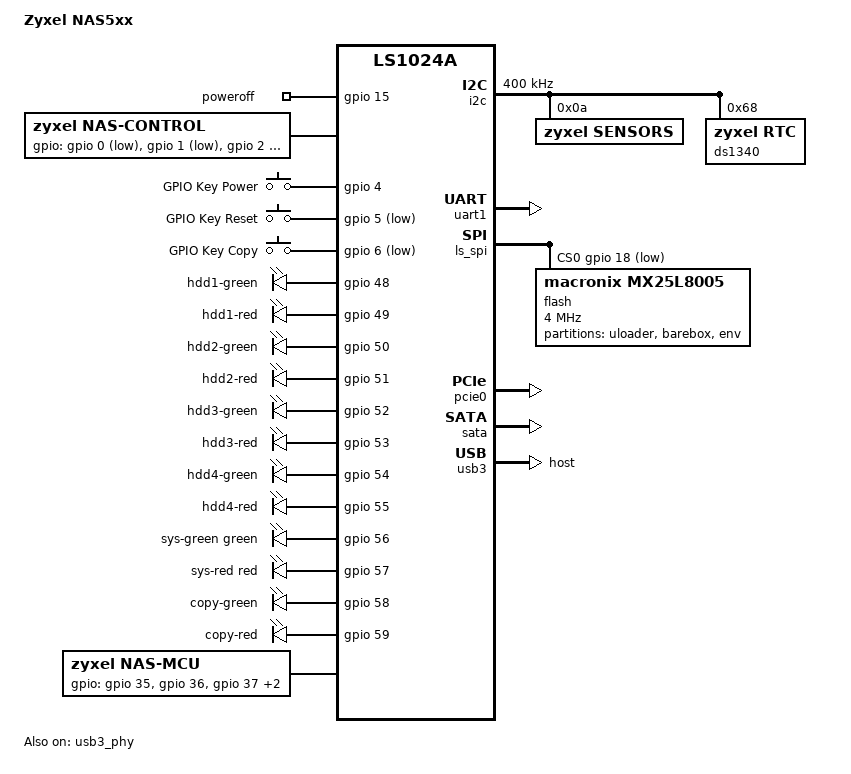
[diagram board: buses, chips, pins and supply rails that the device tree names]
// SPDX-License-Identifier: GPL-2.0
/dts-v1/;
#include "ls1024a.dtsi"
#include <dt-bindings/gpio/gpio.h>
#include <dt-bindings/input/linux-event-codes.h>
#include <dt-bindings/leds/common.h>

/ {
	model = "Zyxel NAS5xx";
	compatible = "zyxel,nas5xx", "fsl,ls1024a";

	chosen {
		bootargs = "console=ttyS0,115200n8 earlyprintk";
		stdout-path = &uart1;
	};

	reserved-memory {
		#address-cells = <1>;
		#size-cells = <1>;

		pfe@3400000 {
			reg = <0x03400000 0xc00000>;
			no-map;
		};
	};

	a9dp_opp_table: a9dp_opp_table {
		compatible = "operating-points-v2";
		opp-shared;

		opp-1200000000 {
			opp-hz = /bits/ 64 <1200000000>;
		};
		opp-600000000 {
			opp-hz = /bits/ 64 <600000000>;
		};
		opp-300000000 {
			opp-hz = /bits/ 64 <300000000>;
		};
	};

	soc {
		poweroff {
			compatible = "gpio-poweroff";
			gpios = <&gpio 15 GPIO_ACTIVE_HIGH>;
			timeout-ms = <6000>;
		};

		pfe_ctrl: pfe_ctrl@90500000 {
			compatible = "fsl,ls1024a-pfe-ctrl";
			reg = <0x90500000 0x10000>,
			      <0x9c000000 0x1000000>,
			      <0x03400000 0xc00000>,
			      <0x9a000000 0x100000>;
			reg-names = "apb", "axi", "ddr", "ipsec";
			fsl,ls1024a-pfe-iram = <&pfe_iram>;
			interrupts = <GIC_SPI 4 IRQ_TYPE_LEVEL_HIGH>;
			interrupt-names = "hif";
			clocks = <&clkcore LS1024A_CLK_PFE_SYS>,
				 <&clkcore LS1024A_CLK_GEM_TX>,
				 <&clkcore LS1024A_CLK_PFE>;
			clock-names = "axi", "gemtx", "hfe_core";
			resets = <&clkreset LS1024A_AXI_PFE_SYS_RST>,
			         <&clkreset LS1024A_AXI_IPSEC_EAPE_RST>;
			reset-names = "axi", "ipsec";
		};
	};

	control: control {
		compatible = "zyxel,nas-control";
		gpios = <&gpio 0 GPIO_ACTIVE_LOW>,
			<&gpio 1 GPIO_ACTIVE_LOW>,
			<&gpio 2 GPIO_ACTIVE_LOW>,
			<&gpio 3 GPIO_ACTIVE_LOW>,
			<&gpio 7 GPIO_ACTIVE_HIGH>,
			<&gpio 8 GPIO_ACTIVE_HIGH>,
			<&gpio 9 GPIO_ACTIVE_HIGH>,
			<&gpio 10 GPIO_ACTIVE_HIGH>,
			<&gpio 11 GPIO_ACTIVE_HIGH>,
			<&gpio 14 GPIO_ACTIVE_HIGH>;
		gpio-names = "hdd1-detect", "hdd2-detect", "hdd3-detect", "hdd4-detect", "htp-detect",
			     "hdd1-control", "hdd2-control", "hdd3-control", "hdd4-control", "usb-control";
	};

	ledtriggers {
		compatible = "zyxel,nas-leds";
	};

	pwmset {
		compatible = "zyxel,nas-pwms";
		//pwms = <&pwm 4 5000 0>, <&pwm 5 65536 0>;
	};

	keys {
		compatible = "zyxel,nas-keys";
		#address-cells = <1>;
		#size-cells = <0>;
		autorepeat;

		button@0 {
			gpios = <&gpio 4 GPIO_ACTIVE_HIGH>;
			linux,code = <KEY_POWER>;
			label = "GPIO Key Power";
			linux,input-type = <1>;
			gpio-key,wakeup = <1>;
			debounce-interval = <100>;
		};
		button@1 {
			gpios = <&gpio 5 GPIO_ACTIVE_LOW>;
			linux,code = <KEY_RESTART>;
			label = "GPIO Key Reset";
			linux,input-type = <1>;
			gpio-key,wakeup = <1>;
			debounce-interval = <100>;
		};
		button@2 {
			gpios = <&gpio 6 GPIO_ACTIVE_LOW>;
			linux,code = <KEY_PROG1>;
			label = "GPIO Key Copy";
			linux,input-type = <1>;
			gpio-key,wakeup = <1>;
			debounce-interval = <100>;
		};
	};

	leds {
		compatible = "gpio-leds";
		hdd1-green {
			gpios = <&gpio 48 GPIO_ACTIVE_HIGH>;
			linux,default-trigger = "hdd1-act";
		};
		hdd1-red {
			gpios = <&gpio 49 GPIO_ACTIVE_HIGH>;
			linux,default-trigger = "hdd1-err";
		};
		hdd2-green {
			gpios = <&gpio 50 GPIO_ACTIVE_HIGH>;
			linux,default-trigger = "hdd2-act";
		};
		hdd2-red {
			gpios = <&gpio 51 GPIO_ACTIVE_HIGH>;
			linux,default-trigger = "hdd2-err";
		};
		hdd3-green {
			gpios = <&gpio 52 GPIO_ACTIVE_HIGH>;
			linux,default-trigger = "hdd3-act";
		};
		hdd3-red {
			gpios = <&gpio 53 GPIO_ACTIVE_HIGH>;
			linux,default-trigger = "hdd3-err";
		};
		hdd4-green {
			gpios = <&gpio 54 GPIO_ACTIVE_HIGH>;
			linux,default-trigger = "hdd4-act";
		};
		hdd4-red {
			gpios = <&gpio 55 GPIO_ACTIVE_HIGH>;
			linux,default-trigger = "hdd4-err";
		};
		sys-green {
			function = LED_FUNCTION_STATUS;
			color = <LED_COLOR_ID_GREEN>;
			gpios = <&gpio 56 GPIO_ACTIVE_HIGH>;
			linux,default-trigger = "sys-act";
		};
		sys-red {
			function = LED_FUNCTION_STATUS;
			color = <LED_COLOR_ID_RED>;
			gpios = <&gpio 57 GPIO_ACTIVE_HIGH>;
			linux,default-trigger = "sys-err";
		};
		copy-green {
			gpios = <&gpio 58 GPIO_ACTIVE_HIGH>;
			linux,default-trigger = "copy-act";
		};
		copy-red {
			gpios = <&gpio 59 GPIO_ACTIVE_HIGH>;
			linux,default-trigger = "copy-err";
		};
	};

	nas-mcu {
		compatible = "zyxel,nas-mcu";
		gpios = <&gpio 35 GPIO_ACTIVE_HIGH>,
			<&gpio 36 GPIO_ACTIVE_HIGH>,
			<&gpio 37 GPIO_ACTIVE_HIGH>,
			<&gpio 38 GPIO_ACTIVE_HIGH>,
			<&gpio 39 GPIO_ACTIVE_HIGH>;
		gpio-names = "sdata", "sclk", "resb", "bi", "wdt";
	};
};

&cpu0 {
	operating-points-v2 = <&a9dp_opp_table>;
};
&cpu1 {
	operating-points-v2 = <&a9dp_opp_table>;
};

&i2c {
	clock-frequency = <400000>;
	status = "okay";

	sensors@a {
		compatible = "zyxel,sensors";
		reg = <0x0a>;
	};

	ds1340: rtc@68 {
		/* compatible = "dallas,ds1340"; */
		compatible = "zyxel,rtc";
		reg = <0x68>;
	};
};

&nand0 {
	ce-gpios = <&gpio 28 GPIO_ACTIVE_HIGH>;
	br-gpios = <&gpio 29 GPIO_ACTIVE_HIGH>;

	partitions {
		compatible = "fixed-partitions";
		#address-cells = <1>;
		#size-cells = <1>;

		partition@0 {
			label = "config";
			reg = <0x0 0xa00000>;
		};
		partition@a00000 {
			label = "kernel1";
			reg = <0xa00000 0xa00000>;
		};
		partition@1400000 {
			label = "rootfs1";
			reg = <0x1400000 0x6e00000>;
		};
		partition@8200000 {
			label = "kernel2";
			reg = <0x8200000 0xa00000>;
		};
		partition@8c00000 {
			label = "rootfs2";
			reg = <0x8c00000 0x6e00000>;
		};
		partition@fa00000 {
			label = "reserved";
			reg = <0xfa00000 0x600000>;
		};
	};
};

&serdes1 {
	fsl,sata-txlev = <15>;
};

&serdes2 {
	fsl,sata-txlev = <15>;
};

&uart0 {
	status = "disabled";

	/* uart0 pins are used for hdd control */
};
&uart1 {
	status = "okay";

	pinctrl-names = "default";
	pinctrl-0 = <&pinctrl_uart1>;
};

&ls_spi {
	num-cs = <1>;
	/* Using a GPIO line is a workaround to enable the driver to really
	 * handle the chip select line. Otherwise, the controller releases the
	 * chip select as soon as the Tx FIFO is empty, which happens too
	 * quickly with a Tx FIFO depth of 8 words.
	 */
	cs-gpios = <&gpio 18 GPIO_ACTIVE_LOW>;
	pinctrl-names = "default";
	pinctrl-0 = <&pinctrl_spi_ls>;
	status = "okay";

	flash@0 {
		#address-cells = <1>;
		#size-cells = <1>;
		compatible = "macronix,mx25l8005", "st,m25p80", "jedec,spi-nor", "spidev";
		reg = <0>;
		spi-max-frequency = <4000000>;
		spi-cpha;
		spi-cpol;
		mode = <0>;

		partition@0 {
			reg = <0x00000 0x40000>;
			label = "uloader";
		};

		partition@40000 {
			reg = <0x40000 0x80000>;
			label = "barebox";
		};

		partition@c0000 {
			reg = <0xc0000 0x40000>;
			label = "env";
		};
	};
};

&pcie0 {
	max-link-speed = <1>;
	status = "okay";
};

&pwm {
	pinctrl-names = "default";
	pinctrl-0 = <&pinctrl_pwm4>, <&pinctrl_pwm5>;
};

&sata {
	ports-implemented = <3>;
	status = "okay";
};

&usb3_phy {
	status = "okay";
};

&usb3 {
	dr_mode = "host";
	status = "okay";
};
